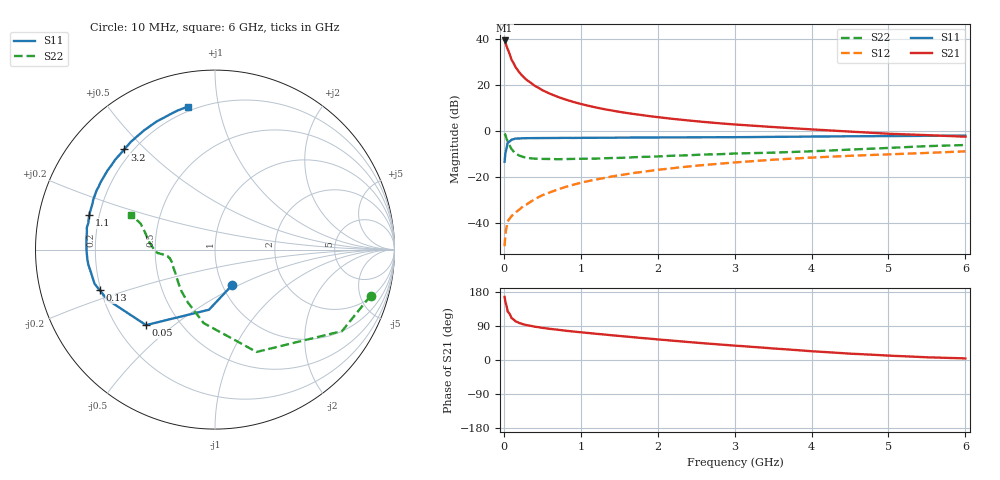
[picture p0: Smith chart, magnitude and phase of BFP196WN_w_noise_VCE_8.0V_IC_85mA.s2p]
! Infineon Technologies  Discrete & RF Semiconductors
! BFP196WN
! VCE =  8.0 V,  IC =  85 mA
! Common Emitter S-Parameters:  Jan 2017
# GHz  S  MA  R  50
!  f  S11  S21  S12  S22
! GHz  MAG  ANG  MAG  ANG  MAG  ANG  MAG  ANG
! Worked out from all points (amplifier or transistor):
!   77 points, 10 MHz to 6 GHz, reference 50 ohm
!   highest |S21| = 39.5 dB at 10 MHz (marker M1)
!   |S21| within 3 dB of that: start of sweep to 40.84 MHz
!   unconditionally stable (mu >= 1): 550.8 MHz to 2.619 GHz
!   at 130 MHz: K = 0.64, MSG = 32.7 dB, |S12| = -35.9 dB
!   at 2.2 GHz: K = 1.02, MAG = 9.9 dB, |S12| = -16.0 dB
!   at 6 GHz: K = 0.90, MSG = 3.2 dB, |S12| = -8.7 dB
!   lowest NFmin = 1.64 dB at 450 MHz
!   S11 on the Smith chart (normalised r, x): 10 MHz: 1.11, -0.46; 50 MHz: 0.32, -0.40; 130 MHz: 0.20, -0.16; 1.1 GHz: 0.16, +0.13; 3.2 GHz: 0.17, +0.43; 6 GHz: 0.17, +0.81
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0.01  0.2197 -64.3  94.94 166.5  0.0032 81.4  0.9044 -16.5
0.02  0.3367 -95.7  85.75 153.3  0.0058 73.9  0.8408 -32.7
0.05  0.5696 -132.4  61.23 128.1  0.011 51.4  0.6155 -67.9
0.1  0.661 -155.0  36.24 110.5  0.0144 51.7  0.4142 -98.8
0.13  0.6809 -160.6  29.65 106.4  0.0161 52.4  0.3605 -108.6
0.15  0.6976 -164.2  25.38 102.5  0.0172 52.8  0.3321 -116.8
0.2  0.7027 -169.5  19.29 97.7  0.0199 58.9  0.2986 -128.6
0.25  0.7105 -173.1  15.55 94.3  0.0235 59.7  0.2791 -136.3
0.3  0.7134 -175.8  13.02 91.9  0.0261 63.3  0.266 -142.8
0.4  0.7157 -179.7  9.846 87.9  0.0334 66.1  0.2555 -150.5
0.5  0.7176 177.2  7.887 84.9  0.0409 68.4  0.2527 -155.9
0.6  0.7188 174.6  6.591 82.2  0.0474 69.3  0.2515 -159.9
0.7  0.7201 172.4  5.645 79.9  0.0545 70.7  0.2488 -162.6
0.9  0.7211 168.2  4.389 75.2  0.069 70.6  0.2527 -165.9
1.1  0.727 164.5  3.604 71.2  0.0834 70.5  0.2553 -168.8
1.5  0.7328 157.9  2.665 63.5  0.111 68.4  0.2659 -172.2
2.1  0.7396 148.4  1.957 52.7  0.1525 64.4  0.2911 -174.7
3.1  0.751 133.6  1.38 36.6  0.2174 56.2  0.3336 -178.9
3.2  0.753 132.2  1.345 35.1  0.2236 55.3  0.3365 -179.6
4.1  0.7745 119.4  1.083 21.9  0.2749 47.6  0.3761 171.6
5.1  0.7932 108.7  0.878 10.7  0.3217 39.9  0.4453 160.4
6  0.8109 100.8  0.768 4.2  0.3687 33.8  0.5062 157.8
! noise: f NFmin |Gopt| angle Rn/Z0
0.45  1.64  0.59  -175  0.05
0.9  1.77  0.6  -168  0.07
1.9  2.75  0.7  -146  0.22
2.4  3.53  0.72  -138  0.37
